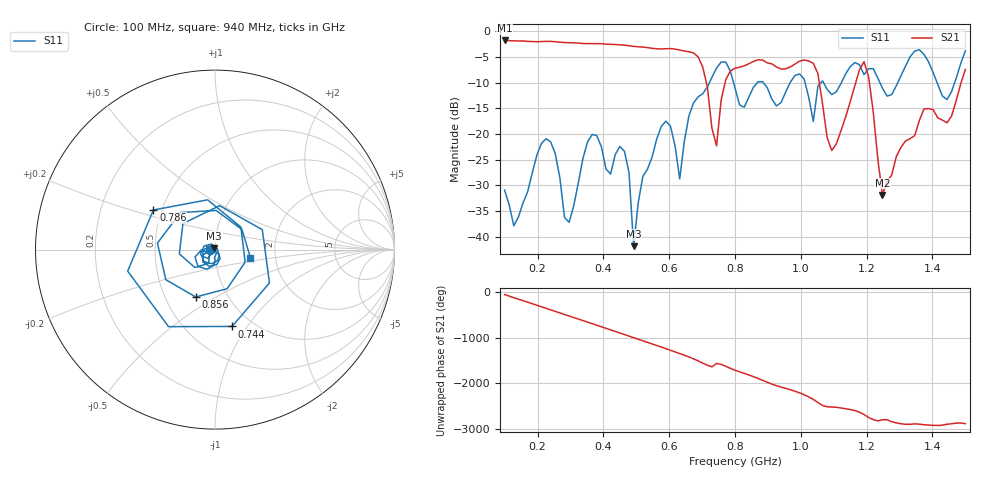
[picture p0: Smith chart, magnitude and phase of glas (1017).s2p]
! NanoVNA-App
! Date: 2025-09-25 16:03:23
! Start: 100MHz Stop: 1,5GHz Points: 101
! S-Parameter data: F S11 S21 S12 S22
# Hz S RI R 50
!  Frequency  S11_Real  S11_Imag  S21_Real  S21_Imag  S12_Real  S12_Imag  S22_Real  S22_Imag
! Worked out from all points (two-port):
!   101 points, 100 MHz to 1.5 GHz, reference 50 ohm
!   highest |S21| = -1.80 dB at 100 MHz (marker M1); lowest = -31.9 dB at 1.248 GHz (marker M2)
!   |S21| within 3 dB of the highest: start of sweep to 684.5 MHz
!   lowest |S11| = -41.8 dB at 492 MHz (marker M3), VSWR 1.02, Z = 49.5 + j0.612 ohm
!   |S11| at or under -10 dB: start of sweep to 722.4 MHz; 795.5 MHz to 868.1 MHz (72.62 MHz wide, 8.73 % of centre); 886.1 MHz to 967.6 MHz (81.46 MHz wide, 8.79 % of centre) (the widest 3 of 7)
!   S12 and S22 are empty: the file has one direction only
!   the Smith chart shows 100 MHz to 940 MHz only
!   S11 on the Smith chart (normalised r, x): 100 MHz: 0.94, -0.01; 744 MHz: 0.81, -0.85; 786 MHz: 0.45, +0.24; 856 MHz: 0.71, -0.41; 940 MHz: 1.48, -0.14
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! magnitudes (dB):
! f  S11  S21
! 100 MHz  -30.9  -1.8
! 128 MHz  -37.9  -1.9
! 226 MHz  -20.9  -2.0
! 296 MHz  -37.2  -2.2
! 338 MHz  -24.8  -2.4
! 464 MHz  -23.4  -2.7
! 492 MHz  -41.8  -3.0
! 576 MHz  -18.5  -3.5
! 632 MHz  -28.7  -3.7
! 702 MHz  -12.2  -7.0
! 744 MHz  -7.2  -22.3
! 786 MHz  -7.8  -7.7
! 800 MHz  -11.0  -7.2
! 856 MHz  -10.9  -5.9
! 940 MHz  -13.9  -7.4
! 996 MHz  -8.3  -5.8
! 1.038 GHz  -17.6  -6.3
! 1.094 GHz  -12.3  -23.2
! 1.192 GHz  -8.5  -5.9
! 1.248 GHz  -11.1  -31.9
! 1.276 GHz  -12.4  -28.0
! 1.5 GHz  -3.8  -7.4
